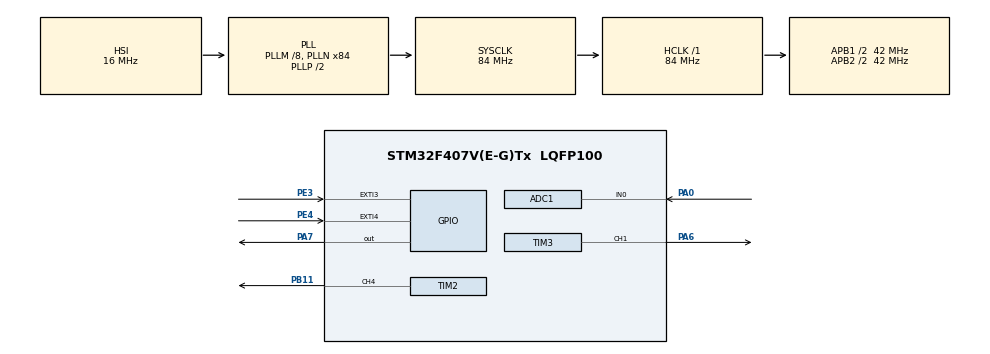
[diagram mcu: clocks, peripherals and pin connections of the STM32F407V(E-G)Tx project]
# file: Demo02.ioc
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ADC1.Channel-0\#ChannelRegularConversion=ADC_CHANNEL_0
ADC1.NbrOfConversionFlag=1
ADC1.Rank-0\#ChannelRegularConversion=1
ADC1.SamplingTime-0\#ChannelRegularConversion=ADC_SAMPLETIME_3CYCLES
ADC1.master=1
FREERTOS.INCLUDE_pcTaskGetTaskName=1
FREERTOS.INCLUDE_uxTaskGetStackHighWaterMark2=1
FREERTOS.INCLUDE_vTaskCleanUpResources=1
FREERTOS.INCLUDE_xEventGroupSetBitFromISR=1
FREERTOS.INCLUDE_xSemaphoreGetMutexHolder=1
FREERTOS.INCLUDE_xTaskAbortDelay=1
FREERTOS.INCLUDE_xTaskGetHandle=1
FREERTOS.Tasks01=defaultTask,24,128,StartDefaultTask,Default,NULL,Dynamic,NULL,NULL
Mcu.Family=STM32F4
Mcu.Name=STM32F407V(E-G)Tx
Mcu.Package=LQFP100
NVIC.EXTI3_IRQn=true\:5\:0\:false\:false\:true\:true\:true\:true\:true
NVIC.EXTI4_IRQn=true\:15\:0\:true\:false\:true\:true\:true\:true\:true
NVIC.PriorityGroup=NVIC_PRIORITYGROUP_4
NVIC.TIM3_IRQn=true\:5\:0\:true\:false\:true\:true\:true\:true\:true
NVIC.TIM6_DAC_IRQn=true\:5\:0\:true\:false\:true\:true\:true\:true\:true
NVIC.TIM7_IRQn=true\:15\:0\:false\:false\:true\:false\:false\:true\:true
NVIC.TimeBase=TIM7_IRQn
NVIC.TimeBaseIP=TIM7
PA0-WKUP.Signal=ADCx_IN0
PA6.Signal=S_TIM3_CH1
PA7.GPIO_PuPd=GPIO_PULLDOWN
PA7.PinState=GPIO_PIN_SET
PA7.Signal=GPIO_Output
PB11.Signal=S_TIM2_CH4
PE3.GPIO_ModeDefaultEXTI=GPIO_MODE_IT_FALLING
PE3.GPIO_PuPd=GPIO_PULLUP
PE3.Signal=GPXTI3
PE4.GPIO_ModeDefaultEXTI=GPIO_MODE_IT_FALLING
PE4.GPIO_PuPd=GPIO_PULLUP
PE4.Signal=GPXTI4
ProjectManager.HeapSize=0x200
ProjectManager.StackSize=0x400
ProjectManager.TargetToolchain=CMake
RCC.48MHZClocksFreq_Value=42000000
RCC.AHBFreq_Value=84000000
RCC.APB1CLKDivider=RCC_HCLK_DIV2
RCC.APB1Freq_Value=42000000
RCC.APB1TimFreq_Value=84000000
RCC.APB2CLKDivider=RCC_HCLK_DIV2
RCC.APB2Freq_Value=42000000
RCC.APB2TimFreq_Value=84000000
RCC.CortexFreq_Value=84000000
RCC.HCLKFreq_Value=84000000
RCC.HSE_VALUE=25000000
RCC.HSI_VALUE=16000000
RCC.LSE_VALUE=32768
RCC.PLLM=8
RCC.PLLN=84
RCC.SYSCLKFreq_VALUE=84000000
RCC.SYSCLKSource=RCC_SYSCLKSOURCE_PLLCLK
RCC.VCOOutputFreq_Value=168000000
SH.ADCx_IN0.0=ADC1_IN0,IN0
SH.S_TIM2_CH4.0=TIM2_CH4,PWM Generation4 CH4
SH.S_TIM3_CH1.0=TIM3_CH1,PWM Generation1 CH1
TIM2.Channel-PWM\ Generation4\ CH4=TIM_CHANNEL_4
TIM2.Period=19999
TIM2.Prescaler=83
TIM2.Pulse-PWM\ Generation4\ CH4=1500
TIM3.Channel-PWM\ Generation1\ CH1=TIM_CHANNEL_1
TIM3.Period=999
TIM3.Prescaler=83
TIM3.Pulse-PWM\ Generation1\ CH1=500
TIM6.Prescaler=8399
VP_FREERTOS_VS_CMSIS_V2.Mode=CMSIS_V2
VP_SYS_VS_tim7.Mode=TIM7
VP_TIM2_VS_ClockSourceINT.Mode=Internal
VP_TIM3_VS_ClockSourceINT.Mode=Internal
VP_TIM6_VS_ClockSourceINT.Mode=Enable_Timer
board=custom

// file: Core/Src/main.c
/* USER CODE BEGIN Header */
/**
  ******************************************************************************
  * @file           : main.c
  * @brief          : Main program body
  ******************************************************************************
  * @attention
  *
  * Copyright (c) 2026 STMicroelectronics.
  * All rights reserved.
  *
  * This software is licensed under terms that can be found in the LICENSE file
  * in the root directory of this software component.
  * If no LICENSE file comes with this software, it is provided AS-IS.
  *
  ******************************************************************************
  */
/* USER CODE END Header */
#include "main.h"
#include "cmsis_os.h"
#include "cmsis_os2.h"
#include "stm32f4xx_hal_tim.h"

/* USER CODE BEGIN PTD */
typedef struct{
  GPIO_TypeDef *GPION;
  uint32_t PIN;
}PINPACK;

/* USER CODE END PTD */

ADC_HandleTypeDef hadc1;

TIM_HandleTypeDef htim2;
TIM_HandleTypeDef htim3;
TIM_HandleTypeDef htim6;

/* Definitions for defaultTask */
osThreadId_t defaultTaskHandle;
const osThreadAttr_t defaultTask_attributes = {
  .name = "defaultTask",
  .stack_size = 128 * 4,
  .priority = (osPriority_t) osPriorityNormal,
};
/* USER CODE BEGIN PV */
PINPACK K0 = {GPIOE,GPIO_PIN_4};
PINPACK K1 = {GPIOE,GPIO_PIN_3};
PINPACK LED1 = {GPIOA,GPIO_PIN_7};
osSemaphoreId_t sema1;
osThreadId_t keyprocess_handle;
osThreadId_t taskmanager_handle;
osThreadId_t task01_handle;
osThreadId_t task02_handle;
osThreadId_t task03_handle;
osThreadId_t task04_handle;
osThreadId_t task05_handle;
/* USER CODE END PV */

void SystemClock_Config(void);
static void MX_GPIO_Init(void);
static void MX_TIM3_Init(void);
static void MX_TIM2_Init(void);
static void MX_TIM6_Init(void);
static void MX_ADC1_Init(void);
void StartDefaultTask(void *argument);

/* USER CODE BEGIN PFP */
static void keyprocess(void *pv);
static void taskmanager(void *pv);
static void task01(void *pv);
static void task02(void *pv);
static void task03(void *pv);
static void task04(void *pv);
static void task05(void *pv);
/* USER CODE END PFP */

/* USER CODE BEGIN 0 */
volatile uint32_t PWM_1[] = {250,500,750,1000};
volatile uint8_t PWM_TYPE_1 = 0;
static int32_t times_k0 = -1;
static int32_t times_k1 = -1;

/* USER CODE END 0 */

int main(void)
{

  /* MCU Configuration--------------------------------------------------------*/

  /* Reset of all peripherals, Initializes the Flash interface and the Systick. */
  HAL_Init();

  /* Configure the system clock */
  SystemClock_Config();

  /* Initialize all configured peripherals */
  MX_GPIO_Init();
  MX_TIM3_Init();
  MX_TIM2_Init();
  MX_TIM6_Init();
  MX_ADC1_Init();
  /* USER CODE BEGIN 2 */
  __HAL_TIM_SET_COMPARE(&htim3, TIM_CHANNEL_1, PWM_1[PWM_TYPE_1]);

  /* USER CODE END 2 */

  /* Init scheduler */
  osKernelInitialize();

  /* USER CODE BEGIN RTOS_SEMAPHORES */
  /* add semaphores, ... */
  sema1 = osSemaphoreNew(5, 0, NULL);

  /* USER CODE END RTOS_SEMAPHORES */

  /* Create the thread(s) */
  /* creation of defaultTask */
  defaultTaskHandle = osThreadNew(StartDefaultTask, NULL, &defaultTask_attributes);

  /* USER CODE BEGIN RTOS_THREADS */
  /* add threads, ... */
  static const osThreadAttr_t attr_high = {
    .priority = osPriorityAboveNormal,
  };
  keyprocess_handle = osThreadNew(keyprocess, NULL, &attr_high);
  taskmanager_handle = osThreadNew(taskmanager, NULL, &attr_high);
  task01_handle = osThreadNew(task01, NULL, NULL);
  task02_handle = osThreadNew(task02, NULL, NULL);
  task03_handle = osThreadNew(task03, NULL, NULL);
  task04_handle = osThreadNew(task04, NULL, NULL);
  task05_handle = osThreadNew(task05, NULL, NULL);
  /* USER CODE END RTOS_THREADS */

  /* Start scheduler */
  osKernelStart();

  /* We should never get here as control is now taken by the scheduler */

  /* Infinite loop */
  while (1)
  {

  }
}

void SystemClock_Config(void)
{
  RCC_OscInitTypeDef RCC_OscInitStruct = {0};
  RCC_ClkInitTypeDef RCC_ClkInitStruct = {0};

  /** Configure the main internal regulator output voltage
  */
  __HAL_RCC_PWR_CLK_ENABLE();
  __HAL_PWR_VOLTAGESCALING_CONFIG(PWR_REGULATOR_VOLTAGE_SCALE1);

  /** Initializes the RCC Oscillators according to the specified parameters
  * in the RCC_OscInitTypeDef structure.
  */
  RCC_OscInitStruct.OscillatorType = RCC_OSCILLATORTYPE_HSI;
  RCC_OscInitStruct.HSIState = RCC_HSI_ON;
  RCC_OscInitStruct.HSICalibrationValue = RCC_HSICALIBRATION_DEFAULT;
  RCC_OscInitStruct.PLL.PLLState = RCC_PLL_ON;
  RCC_OscInitStruct.PLL.PLLSource = RCC_PLLSOURCE_HSI;
  RCC_OscInitStruct.PLL.PLLM = 8;
  RCC_OscInitStruct.PLL.PLLN = 84;
  RCC_OscInitStruct.PLL.PLLP = RCC_PLLP_DIV2;
  RCC_OscInitStruct.PLL.PLLQ = 4;
  if (HAL_RCC_OscConfig(&RCC_OscInitStruct) != HAL_OK)
  {
    Error_Handler();
  }

  /** Initializes the CPU, AHB and APB buses clocks
  */
  RCC_ClkInitStruct.ClockType = RCC_CLOCKTYPE_HCLK|RCC_CLOCKTYPE_SYSCLK
                              |RCC_CLOCKTYPE_PCLK1|RCC_CLOCKTYPE_PCLK2;
  RCC_ClkInitStruct.SYSCLKSource = RCC_SYSCLKSOURCE_PLLCLK;
  RCC_ClkInitStruct.AHBCLKDivider = RCC_SYSCLK_DIV1;
  RCC_ClkInitStruct.APB1CLKDivider = RCC_HCLK_DIV2;
  RCC_ClkInitStruct.APB2CLKDivider = RCC_HCLK_DIV2;

  if (HAL_RCC_ClockConfig(&RCC_ClkInitStruct, FLASH_LATENCY_2) != HAL_OK)
  {
    Error_Handler();
  }
}

static void MX_ADC1_Init(void)
{

  ADC_ChannelConfTypeDef sConfig = {0};

  /** Configure the global features of the ADC (Clock, Resolution, Data Alignment and number of conversion)
  */
  hadc1.Instance = ADC1;
  hadc1.Init.ClockPrescaler = ADC_CLOCK_SYNC_PCLK_DIV2;
  hadc1.Init.Resolution = ADC_RESOLUTION_12B;
  hadc1.Init.ScanConvMode = DISABLE;
  hadc1.Init.ContinuousConvMode = DISABLE;
  hadc1.Init.DiscontinuousConvMode = DISABLE;
  hadc1.Init.ExternalTrigConvEdge = ADC_EXTERNALTRIGCONVEDGE_NONE;
  hadc1.Init.ExternalTrigConv = ADC_SOFTWARE_START;
  hadc1.Init.DataAlign = ADC_DATAALIGN_RIGHT;
  hadc1.Init.NbrOfConversion = 1;
  hadc1.Init.DMAContinuousRequests = DISABLE;
  hadc1.Init.EOCSelection = ADC_EOC_SINGLE_CONV;
  if (HAL_ADC_Init(&hadc1) != HAL_OK)
  {
    Error_Handler();
  }

  /** Configure for the selected ADC regular channel its corresponding rank in the sequencer and its sample time.
  */
  sConfig.Channel = ADC_CHANNEL_0;
  sConfig.Rank = 1;
  sConfig.SamplingTime = ADC_SAMPLETIME_3CYCLES;
  if (HAL_ADC_ConfigChannel(&hadc1, &sConfig) != HAL_OK)
  {
    Error_Handler();
  }

}

static void MX_TIM2_Init(void)
{

  TIM_ClockConfigTypeDef sClockSourceConfig = {0};
  TIM_MasterConfigTypeDef sMasterConfig = {0};
  TIM_OC_InitTypeDef sConfigOC = {0};

  htim2.Instance = TIM2;
  htim2.Init.Prescaler = 83;
  htim2.Init.CounterMode = TIM_COUNTERMODE_UP;
  htim2.Init.Period = 19999;
  htim2.Init.ClockDivision = TIM_CLOCKDIVISION_DIV1;
  htim2.Init.AutoReloadPreload = TIM_AUTORELOAD_PRELOAD_DISABLE;
  if (HAL_TIM_Base_Init(&htim2) != HAL_OK)
  {
    Error_Handler();
  }
  sClockSourceConfig.ClockSource = TIM_CLOCKSOURCE_INTERNAL;
  if (HAL_TIM_ConfigClockSource(&htim2, &sClockSourceConfig) != HAL_OK)
  {
    Error_Handler();
  }
  if (HAL_TIM_PWM_Init(&htim2) != HAL_OK)
  {
    Error_Handler();
  }
  sMasterConfig.MasterOutputTrigger = TIM_TRGO_RESET;
  sMasterConfig.MasterSlaveMode = TIM_MASTERSLAVEMODE_DISABLE;
  if (HAL_TIMEx_MasterConfigSynchronization(&htim2, &sMasterConfig) != HAL_OK)
  {
    Error_Handler();
  }
  sConfigOC.OCMode = TIM_OCMODE_PWM1;
  sConfigOC.Pulse = 1500;
  sConfigOC.OCPolarity = TIM_OCPOLARITY_HIGH;
  sConfigOC.OCFastMode = TIM_OCFAST_DISABLE;
  if (HAL_TIM_PWM_ConfigChannel(&htim2, &sConfigOC, TIM_CHANNEL_4) != HAL_OK)
  {
    Error_Handler();
  }
  HAL_TIM_MspPostInit(&htim2);

}

static void MX_TIM3_Init(void)
{

  TIM_ClockConfigTypeDef sClockSourceConfig = {0};
  TIM_MasterConfigTypeDef sMasterConfig = {0};
  TIM_OC_InitTypeDef sConfigOC = {0};

  htim3.Instance = TIM3;
  htim3.Init.Prescaler = 83;
  htim3.Init.CounterMode = TIM_COUNTERMODE_UP;
  htim3.Init.Period = 999;
  htim3.Init.ClockDivision = TIM_CLOCKDIVISION_DIV1;
  htim3.Init.AutoReloadPreload = TIM_AUTORELOAD_PRELOAD_DISABLE;
  if (HAL_TIM_Base_Init(&htim3) != HAL_OK)
  {
    Error_Handler();
  }
  sClockSourceConfig.ClockSource = TIM_CLOCKSOURCE_INTERNAL;
  if (HAL_TIM_ConfigClockSource(&htim3, &sClockSourceConfig) != HAL_OK)
  {
    Error_Handler();
  }
  if (HAL_TIM_PWM_Init(&htim3) != HAL_OK)
  {
    Error_Handler();
  }
  sMasterConfig.MasterOutputTrigger = TIM_TRGO_RESET;
  sMasterConfig.MasterSlaveMode = TIM_MASTERSLAVEMODE_DISABLE;
  if (HAL_TIMEx_MasterConfigSynchronization(&htim3, &sMasterConfig) != HAL_OK)
  {
    Error_Handler();
  }
  sConfigOC.OCMode = TIM_OCMODE_PWM1;
  sConfigOC.Pulse = 500;
  sConfigOC.OCPolarity = TIM_OCPOLARITY_HIGH;
  sConfigOC.OCFastMode = TIM_OCFAST_DISABLE;
  if (HAL_TIM_PWM_ConfigChannel(&htim3, &sConfigOC, TIM_CHANNEL_1) != HAL_OK)
  {
    Error_Handler();
  }
  HAL_TIM_MspPostInit(&htim3);

}

static void MX_TIM6_Init(void)
{

  TIM_MasterConfigTypeDef sMasterConfig = {0};

  htim6.Instance = TIM6;
  htim6.Init.Prescaler = 8399;
  htim6.Init.CounterMode = TIM_COUNTERMODE_UP;
  htim6.Init.Period = 65535;
  htim6.Init.AutoReloadPreload = TIM_AUTORELOAD_PRELOAD_DISABLE;
  if (HAL_TIM_Base_Init(&htim6) != HAL_OK)
  {
    Error_Handler();
  }
  sMasterConfig.MasterOutputTrigger = TIM_TRGO_RESET;
  sMasterConfig.MasterSlaveMode = TIM_MASTERSLAVEMODE_DISABLE;
  if (HAL_TIMEx_MasterConfigSynchronization(&htim6, &sMasterConfig) != HAL_OK)
  {
    Error_Handler();
  }

}

static void MX_GPIO_Init(void)
{
  GPIO_InitTypeDef GPIO_InitStruct = {0};

  /* GPIO Ports Clock Enable */
  __HAL_RCC_GPIOE_CLK_ENABLE();
  __HAL_RCC_GPIOA_CLK_ENABLE();
  __HAL_RCC_GPIOB_CLK_ENABLE();

  /*Configure GPIO pin Output Level */
  HAL_GPIO_WritePin(GPIOA, GPIO_PIN_7, GPIO_PIN_SET);

  /*Configure GPIO pins : PE3 PE4 */
  GPIO_InitStruct.Pin = GPIO_PIN_3|GPIO_PIN_4;
  GPIO_InitStruct.Mode = GPIO_MODE_IT_FALLING;
  GPIO_InitStruct.Pull = GPIO_PULLUP;
  HAL_GPIO_Init(GPIOE, &GPIO_InitStruct);

  /*Configure GPIO pin : PA7 */
  GPIO_InitStruct.Pin = GPIO_PIN_7;
  GPIO_InitStruct.Mode = GPIO_MODE_OUTPUT_PP;
  GPIO_InitStruct.Pull = GPIO_PULLDOWN;
  GPIO_InitStruct.Speed = GPIO_SPEED_FREQ_LOW;
  HAL_GPIO_Init(GPIOA, &GPIO_InitStruct);

  /* EXTI interrupt init*/
  HAL_NVIC_SetPriority(EXTI3_IRQn, 5, 0);
  HAL_NVIC_EnableIRQ(EXTI3_IRQn);

  HAL_NVIC_SetPriority(EXTI4_IRQn, 15, 0);
  HAL_NVIC_EnableIRQ(EXTI4_IRQn);

}

/* USER CODE BEGIN 4 */
void HAL_GPIO_EXTI_Callback(uint16_t GPIO_Pin){

}
//taskmanager函数：根据k0被按下的次数切换任务，防止按键被其他函数处理
static void taskmanager(void *pv){
  osThreadSuspend(task01_handle);
  osThreadSuspend(task02_handle);
  osThreadSuspend(task03_handle);
  osThreadSuspend(task04_handle);
  osThreadSuspend(task05_handle);
  uint8_t status = 0;
  uint8_t key = 0;

  for(;;){
    if (times_k0 > 0) {
    key = 1;
    }
    if (times_k0 == -1 && key == 1) {
    key = 2;
    }
    if (key == 2) {
      key = 0;
      status++;
      if (status > 5) {
      status = 1;
      }
      if (status == 1) {
      HAL_TIM_PWM_Stop(&htim2, TIM_CHANNEL_4);
    osThreadSuspend(task05_handle);
    osThreadResume(task01_handle);
    }else if(status == 2){
    HAL_TIM_Base_Stop_IT(&htim6);
    HAL_TIM_PWM_Start(&htim3, TIM_CHANNEL_1);
    HAL_TIM_PWM_Start(&htim2, TIM_CHANNEL_4);
    osThreadSuspend(task01_handle);
    osThreadResume(task02_handle);
    }else if(status == 3){
    HAL_TIM_PWM_Stop(&htim3, TIM_CHANNEL_1);
    HAL_TIM_PWM_Stop(&htim2, TIM_CHANNEL_4);
    osThreadSuspend(task02_handle);
    osThreadResume(task03_handle);
    }else if(status == 4){
      __HAL_TIM_SET_COMPARE(&htim3, TIM_CHANNEL_1,0);
      HAL_TIM_PWM_Start(&htim3, TIM_CHANNEL_1);
    osThreadSuspend(task03_handle);
    osThreadResume(task04_handle);
    }else if(status == 5){
      HAL_TIM_PWM_Stop(&htim3, TIM_CHANNEL_1);
      HAL_TIM_PWM_Start(&htim2, TIM_CHANNEL_4);
    osThreadSuspend(task04_handle);
    osThreadResume(task05_handle);
    }

    }
    osDelay(20);
    }

}
static void task01(void *pv){
  uint32_t t = 0;
  uint8_t status = 0;
  uint8_t repeat = 0;
  __HAL_TIM_SET_AUTORELOAD(&htim6, 999);
  for(;;){
    if(times_k1 > 0){
    t = times_k1;
  }
  if(times_k1 == -1){
    if(t>0 && t<=25){
      HAL_GPIO_TogglePin(LED1.GPION, LED1.PIN);
    }else if (t>25) {
      if (status == 1) {
      status = 2;
      repeat = 0;
      }else if(status == 2 || status == 0){
      status = 1;
      repeat = 0;
      }

    }
    t = 0;
  }

  if(status == 1){
    if (repeat == 0) {
      HAL_TIM_Base_Start_IT(&htim6);
      repeat = 1;
    }

  }else if(status == 2){
    if (repeat == 0) {
      HAL_TIM_Base_Stop_IT(&htim6);
      __HAL_TIM_SET_COUNTER(&htim6, 0);
      repeat = 1;
    }
  }
  osDelay(5);
  }

}
static void task02(void *pv){
  uint8_t status = 0;
  uint32_t t1 = 0;
  uint32_t t2 = 500;
  for (;;) {

  osDelay(1);
  if(status == 0){
    if(t1<999){
      t1 = t1 + 1;
    }
    if (t2<2499) {
      t2 = t2 + 2;
    }
  }else if(status ==1 ){
    if (t1>0) {
    t1 = t1 - 1;
    }
    if (t2>500) {
    t2 = t2 - 2;
    }
  }
  if(t1 == 999){
    status = 1;
  }else if(t1 == 0){
    status = 0;
  }
  __HAL_TIM_SET_COMPARE(&htim3, TIM_CHANNEL_1, t1);
  __HAL_TIM_SET_COMPARE(&htim2, TIM_CHANNEL_4, t2);
  }
}
static void task03(void *pv){
  uint32_t raw = 0;
  for (;;) {
  if (HAL_ADC_Start(&hadc1) == HAL_OK) {
    if(HAL_ADC_PollForConversion(&hadc1,10) == HAL_OK){
      raw = HAL_ADC_GetValue(&hadc1);
    }
  }
  HAL_ADC_Stop(&hadc1);
  osDelay(20);
  }
}
static void task04(void *pv){
  uint32_t t = 0;
  uint8_t status = 0;
  uint8_t repeat = 0;
  uint8_t status2 = 0;
  uint32_t t1 = 0;
  uint8_t status3 = 0;
  __HAL_TIM_SET_AUTORELOAD(&htim6, 999);
  for(;;){
    if(times_k1 > 0){
    t = times_k1;
  }
  if(times_k1 == -1){
    if(t>0 && t<=25){
      status2++;
      if (status2 > 3) {
      status2 = 0;
      }
      __HAL_TIM_SET_COMPARE(&htim3, TIM_CHANNEL_1, PWM_1[status2]);
    }else if (t>25) {
      if (status == 1) {
      status = 2;
      repeat = 0;
      }else if(status == 2 || status == 0){
      status = 1;
      repeat = 0;
      }

    }
    t = 0;
  }

  if(status == 1){
    /*if (repeat == 0) {
      HAL_TIM_PWM_Start(&htim3, TIM_CHANNEL_1);
      repeat = 1;
    }*/
    if(status3 == 0){
    if(t1<999){
      t1 = t1 + 1;
    }

  }else if(status3 ==1 ){
    if (t1>0) {
    t1 = t1 - 1;
    }

  }
  if(t1 == 999){
    status3 = 1;
  }else if(t1 == 0){
    status3 = 0;
  }
  __HAL_TIM_SET_COMPARE(&htim3, TIM_CHANNEL_1, t1);

  }
  /*if(status == 2){
    if (repeat == 0) {
      HAL_TIM_PWM_Stop(&htim3, TIM_CHANNEL_1);
      repeat = 1;
    }
  }*/
  osDelay(1);
  }

}
static void task05(void *pv){
  uint32_t raw = 0;
  uint32_t angle = 0;
  for (;;) {
  if (HAL_ADC_Start(&hadc1) == HAL_OK) {
    if(HAL_ADC_PollForConversion(&hadc1,10) == HAL_OK){
      raw = HAL_ADC_GetValue(&hadc1);
      HAL_ADC_Stop(&hadc1);
    angle = raw*1000/2048 + 500;
    if(angle>500 && angle<2499){
      __HAL_TIM_SET_COMPARE(&htim2, TIM_CHANNEL_4, angle);
    }
    }
  }

  osDelay(20);
  }
}
//keyproces函数：以20ms为周期轮询按键，t>20ms时times被置为1以达到消抖效果，反复叠加达到计时效果
//(这何尝不是一种非阻塞呢)

static void keyprocess(void *pv){
  for (; ; ) {

    osDelay(20);
    if(HAL_GPIO_ReadPin(K0.GPION, K0.PIN) == GPIO_PIN_RESET){
      times_k0++;
    }
    if(HAL_GPIO_ReadPin(K0.GPION, K0.PIN) == GPIO_PIN_SET){
      times_k0 = -1;
    }
    if(HAL_GPIO_ReadPin(K1.GPION, K1.PIN) == GPIO_PIN_RESET){
      times_k1++;
    }
    if(HAL_GPIO_ReadPin(K1.GPION, K1.PIN) == GPIO_PIN_SET){
      times_k1 = -1;
    }

  }
}
/* USER CODE END 4 */

void StartDefaultTask(void *argument)
{
  for(;;)
  {
    osDelay(1);
  }
}

void HAL_TIM_PeriodElapsedCallback(TIM_HandleTypeDef *htim)
{
  if (htim->Instance == TIM7)
  {
    HAL_IncTick();
  }
  /* USER CODE BEGIN Callback 1 */
  if(htim->Instance == TIM3){

  }
  if(htim->Instance == TIM6){
    HAL_GPIO_TogglePin(LED1.GPION, LED1.PIN);
  }

  /* USER CODE END Callback 1 */
}

void Error_Handler(void)
{
  __disable_irq();
  while (1)
  {
  }
}
